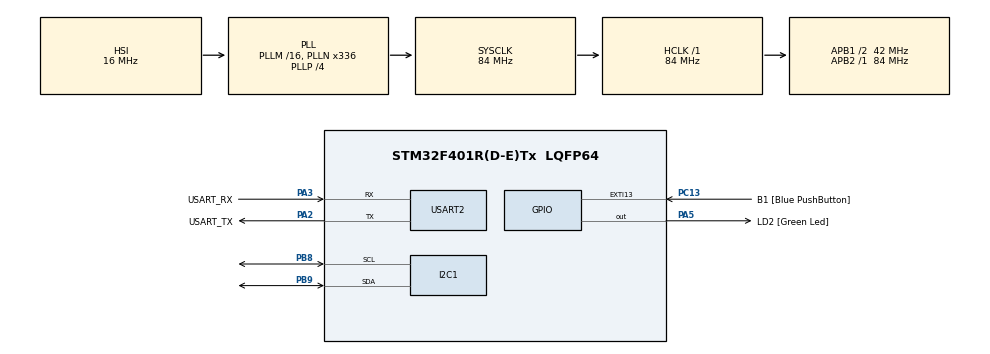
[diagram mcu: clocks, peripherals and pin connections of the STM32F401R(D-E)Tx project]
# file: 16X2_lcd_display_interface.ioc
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Mcu.Family=STM32F4
Mcu.Name=STM32F401R(D-E)Tx
Mcu.Package=LQFP64
NVIC.PriorityGroup=NVIC_PRIORITYGROUP_4
PA13.GPIO_Label=TMS
PA13.Mode=Trace_Asynchronous_SW
PA13.Signal=SYS_JTMS-SWDIO
PA14.GPIO_Label=TCK
PA14.Mode=Trace_Asynchronous_SW
PA14.Signal=SYS_JTCK-SWCLK
PA2.GPIO_Label=USART_TX
PA2.GPIO_Mode=GPIO_MODE_AF_PP
PA2.GPIO_PuPd=GPIO_NOPULL
PA2.GPIO_Speed=GPIO_SPEED_FREQ_LOW
PA2.Mode=Asynchronous
PA2.Signal=USART2_TX
PA3.GPIO_Label=USART_RX
PA3.GPIO_Mode=GPIO_MODE_AF_PP
PA3.GPIO_PuPd=GPIO_NOPULL
PA3.GPIO_Speed=GPIO_SPEED_FREQ_LOW
PA3.Mode=Asynchronous
PA3.Signal=USART2_RX
PA5.GPIO_Label=LD2 [Green Led]
PA5.GPIO_Mode=GPIO_MODE_OUTPUT_PP
PA5.GPIO_PuPd=GPIO_NOPULL
PA5.GPIO_Speed=GPIO_SPEED_FREQ_LOW
PA5.Signal=GPIO_Output
PB3.GPIO_Label=SWO
PB3.Mode=Trace_Asynchronous_SW
PB3.Signal=SYS_JTDO-SWO
PB8.Mode=I2C
PB8.Signal=I2C1_SCL
PB9.Mode=I2C
PB9.Signal=I2C1_SDA
PC13-ANTI_TAMP.GPIO_Label=B1 [Blue PushButton]
PC13-ANTI_TAMP.GPIO_ModeDefaultEXTI=GPIO_MODE_IT_FALLING
PC13-ANTI_TAMP.GPIO_PuPd=GPIO_NOPULL
PC13-ANTI_TAMP.Signal=GPXTI13
PC14-OSC32_IN.Mode=LSE-External-Oscillator
PC14-OSC32_IN.Signal=RCC_OSC32_IN
PC15-OSC32_OUT.Mode=LSE-External-Oscillator
PC15-OSC32_OUT.Signal=RCC_OSC32_OUT
PH0\ -\ OSC_IN.Mode=HSE-External-Clock-Source
PH0\ -\ OSC_IN.Signal=RCC_OSC_IN
PH1\ -\ OSC_OUT.Mode=HSE-External-Clock-Source
PH1\ -\ OSC_OUT.Signal=RCC_OSC_OUT
ProjectManager.HeapSize=0x200
ProjectManager.StackSize=0x400
ProjectManager.TargetToolchain=STM32CubeIDE
RCC.48MHZClocksFreq_Value=48000000
RCC.AHBFreq_Value=84000000
RCC.APB1CLKDivider=RCC_HCLK_DIV2
RCC.APB1Freq_Value=42000000
RCC.APB1TimFreq_Value=84000000
RCC.APB2Freq_Value=84000000
RCC.APB2TimFreq_Value=84000000
RCC.CortexFreq_Value=84000000
RCC.HCLKFreq_Value=84000000
RCC.HSE_VALUE=8000000
RCC.HSI_VALUE=16000000
RCC.PLLN=336
RCC.PLLP=RCC_PLLP_DIV4
RCC.PLLQ=7
RCC.SYSCLKFreq_VALUE=84000000
RCC.SYSCLKSource=RCC_SYSCLKSOURCE_PLLCLK
RCC.VCOOutputFreq_Value=336000000
USART2.VirtualMode=VM_ASYNC
board=NUCLEO-F401RE

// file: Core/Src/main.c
/* USER CODE BEGIN Header */
/**
  ******************************************************************************
  * @file           : main.c
  * @brief          : Main program body
  ******************************************************************************
  * @attention
  *
  * Copyright (c) 2026 STMicroelectronics.
  * All rights reserved.
  *
  * This software is licensed under terms that can be found in the LICENSE file
  * in the root directory of this software component.
  * If no LICENSE file comes with this software, it is provided AS-IS.
  *
  ******************************************************************************
  */
/* USER CODE END Header */
#include "main.h"
uint8_t i;
/* USER CODE BEGIN Includes */
#define LCD_ADDR (0x3F << 1)   // STM32 HAL needs shifted address

/* USER CODE END Includes */

I2C_HandleTypeDef hi2c1;

UART_HandleTypeDef huart2;

void SystemClock_Config(void);
static void MX_GPIO_Init(void);
static void MX_USART2_UART_Init(void);
static void MX_I2C1_Init(void);

/* USER CODE BEGIN 0 */
int _write(int file, char *ptr, int len)
{
    HAL_UART_Transmit(&huart2, (uint8_t*)ptr, len, HAL_MAX_DELAY);
    return len;
}

void lcd_send_cmd(char cmd)
{
    uint8_t data_u, data_l;
    uint8_t data_t[4];

    data_u = cmd & 0xF0;
    data_l = (cmd << 4) & 0xF0;

    data_t[0] = data_u | 0x0C;
    data_t[1] = data_u | 0x08;
    data_t[2] = data_l | 0x0C;
    data_t[3] = data_l | 0x08;

    HAL_I2C_Master_Transmit(&hi2c1, LCD_ADDR, data_t, 4, 100);
}

void lcd_send_data(char data)
{
    uint8_t data_u, data_l;
    uint8_t data_t[4];

    data_u = data & 0xF0;
    data_l = (data << 4) & 0xF0;

    data_t[0] = data_u | 0x0D;
    data_t[1] = data_u | 0x09;
    data_t[2] = data_l | 0x0D;
    data_t[3] = data_l | 0x09;

    HAL_I2C_Master_Transmit(&hi2c1, LCD_ADDR, data_t, 4, 100);
}

void lcd_init(void)
{
    HAL_Delay(50);
    lcd_send_cmd(0x33);
    lcd_send_cmd(0x32);
    lcd_send_cmd(0x28);
    lcd_send_cmd(0x0C);
    lcd_send_cmd(0x06);
    lcd_send_cmd(0x01);
    HAL_Delay(5);
}

void lcd_send_string(char *str)
{
    while(*str) lcd_send_data(*str++);
}

/* USER CODE END 0 */

int main(void)
{

  /* MCU Configuration--------------------------------------------------------*/

  /* Reset of all peripherals, Initializes the Flash interface and the Systick. */
  HAL_Init();

  /* Configure the system clock */
  SystemClock_Config();

  /* Initialize all configured peripherals */
  MX_GPIO_Init();
  MX_USART2_UART_Init();
  MX_I2C1_Init();
  /* USER CODE BEGIN 2 */
//  uncomment this for printing
//  lcd_init();
//  HAL_Delay(1000);
//  lcd_send_string("Subscribe Elconics");

  /* USER CODE END 2 */

  /* Infinite loop */
  while (1)
  {

// uncomment this for getting i2c address of display
	    printf("Scanning I2C...\n");

	    for(i = 1; i < 128; i++)
	    {
	        if(HAL_I2C_IsDeviceReady(&hi2c1, (i << 1), 1, 10) == HAL_OK)
	        {
	            printf("I2C Device found at: 0x%X\n", i);
	        }
	    }

	    HAL_Delay(3000); // scan every 3 second
  }
}

void SystemClock_Config(void)
{
  RCC_OscInitTypeDef RCC_OscInitStruct = {0};
  RCC_ClkInitTypeDef RCC_ClkInitStruct = {0};

  /** Configure the main internal regulator output voltage
  */
  __HAL_RCC_PWR_CLK_ENABLE();
  __HAL_PWR_VOLTAGESCALING_CONFIG(PWR_REGULATOR_VOLTAGE_SCALE2);

  /** Initializes the RCC Oscillators according to the specified parameters
  * in the RCC_OscInitTypeDef structure.
  */
  RCC_OscInitStruct.OscillatorType = RCC_OSCILLATORTYPE_HSI;
  RCC_OscInitStruct.HSIState = RCC_HSI_ON;
  RCC_OscInitStruct.HSICalibrationValue = RCC_HSICALIBRATION_DEFAULT;
  RCC_OscInitStruct.PLL.PLLState = RCC_PLL_ON;
  RCC_OscInitStruct.PLL.PLLSource = RCC_PLLSOURCE_HSI;
  RCC_OscInitStruct.PLL.PLLM = 16;
  RCC_OscInitStruct.PLL.PLLN = 336;
  RCC_OscInitStruct.PLL.PLLP = RCC_PLLP_DIV4;
  RCC_OscInitStruct.PLL.PLLQ = 7;
  if (HAL_RCC_OscConfig(&RCC_OscInitStruct) != HAL_OK)
  {
    Error_Handler();
  }

  /** Initializes the CPU, AHB and APB buses clocks
  */
  RCC_ClkInitStruct.ClockType = RCC_CLOCKTYPE_HCLK|RCC_CLOCKTYPE_SYSCLK
                              |RCC_CLOCKTYPE_PCLK1|RCC_CLOCKTYPE_PCLK2;
  RCC_ClkInitStruct.SYSCLKSource = RCC_SYSCLKSOURCE_PLLCLK;
  RCC_ClkInitStruct.AHBCLKDivider = RCC_SYSCLK_DIV1;
  RCC_ClkInitStruct.APB1CLKDivider = RCC_HCLK_DIV2;
  RCC_ClkInitStruct.APB2CLKDivider = RCC_HCLK_DIV1;

  if (HAL_RCC_ClockConfig(&RCC_ClkInitStruct, FLASH_LATENCY_2) != HAL_OK)
  {
    Error_Handler();
  }
}

static void MX_I2C1_Init(void)
{

  hi2c1.Instance = I2C1;
  hi2c1.Init.ClockSpeed = 100000;
  hi2c1.Init.DutyCycle = I2C_DUTYCYCLE_2;
  hi2c1.Init.OwnAddress1 = 0;
  hi2c1.Init.AddressingMode = I2C_ADDRESSINGMODE_7BIT;
  hi2c1.Init.DualAddressMode = I2C_DUALADDRESS_DISABLE;
  hi2c1.Init.OwnAddress2 = 0;
  hi2c1.Init.GeneralCallMode = I2C_GENERALCALL_DISABLE;
  hi2c1.Init.NoStretchMode = I2C_NOSTRETCH_DISABLE;
  if (HAL_I2C_Init(&hi2c1) != HAL_OK)
  {
    Error_Handler();
  }

}

static void MX_USART2_UART_Init(void)
{

  huart2.Instance = USART2;
  huart2.Init.BaudRate = 115200;
  huart2.Init.WordLength = UART_WORDLENGTH_8B;
  huart2.Init.StopBits = UART_STOPBITS_1;
  huart2.Init.Parity = UART_PARITY_NONE;
  huart2.Init.Mode = UART_MODE_TX_RX;
  huart2.Init.HwFlowCtl = UART_HWCONTROL_NONE;
  huart2.Init.OverSampling = UART_OVERSAMPLING_16;
  if (HAL_UART_Init(&huart2) != HAL_OK)
  {
    Error_Handler();
  }

}

static void MX_GPIO_Init(void)
{
  GPIO_InitTypeDef GPIO_InitStruct = {0};

  /* GPIO Ports Clock Enable */
  __HAL_RCC_GPIOC_CLK_ENABLE();
  __HAL_RCC_GPIOH_CLK_ENABLE();
  __HAL_RCC_GPIOA_CLK_ENABLE();
  __HAL_RCC_GPIOB_CLK_ENABLE();

  /*Configure GPIO pin Output Level */
  HAL_GPIO_WritePin(LD2_GPIO_Port, LD2_Pin, GPIO_PIN_RESET);

  /*Configure GPIO pin : B1_Pin */
  GPIO_InitStruct.Pin = B1_Pin;
  GPIO_InitStruct.Mode = GPIO_MODE_IT_FALLING;
  GPIO_InitStruct.Pull = GPIO_NOPULL;
  HAL_GPIO_Init(B1_GPIO_Port, &GPIO_InitStruct);

  /*Configure GPIO pin : LD2_Pin */
  GPIO_InitStruct.Pin = LD2_Pin;
  GPIO_InitStruct.Mode = GPIO_MODE_OUTPUT_PP;
  GPIO_InitStruct.Pull = GPIO_NOPULL;
  GPIO_InitStruct.Speed = GPIO_SPEED_FREQ_LOW;
  HAL_GPIO_Init(LD2_GPIO_Port, &GPIO_InitStruct);

}

void Error_Handler(void)
{
  __disable_irq();
  while (1)
  {
  }
}
